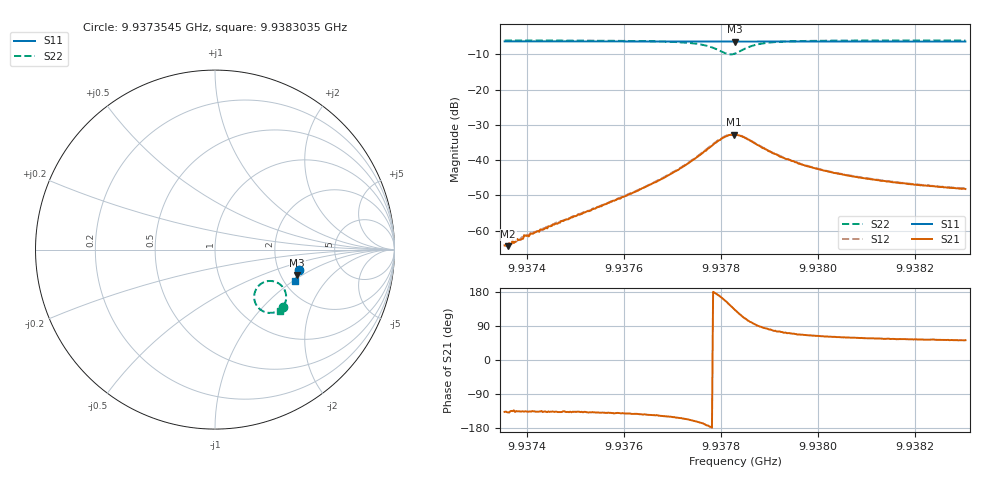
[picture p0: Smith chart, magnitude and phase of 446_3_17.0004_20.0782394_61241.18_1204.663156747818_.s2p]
#  HZ  S  RI  R  50.00
! Rohde & Schwarz Vector Network Analyzer
! Rohde-Schwarz,ZNB20-2Port,1311601062101988,3.16
! Created: UTC 3/20/2024, 11:12:04 PM
! freq[Hz]  re:S11  im:S11  re:S21  im:S21  re:S12  im:S12  re:S22  im:S22
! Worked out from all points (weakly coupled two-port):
!   401 points, 9.9373545 GHz to 9.9383035 GHz, reference 50 ohm
!   highest |S21| = -32.74 dB at 9.9378266 GHz (marker M1); lowest = -64.4 dB at 9.9373616 GHz (marker M2)
!   lowest |S11| = -6.4 dB at 9.937829 GHz (marker M3), VSWR 2.84, Z = 123 - j45 ohm
!   |S11| at or under -10 dB: nowhere
!   |S22| runs from -10.0 to -6.1 dB; largest |S21 - S12| = 0.001
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9.93735452e9  0.4701 -0.1121  -0.00045 -0.000422  -0.000424 -0.000436  0.3807 -0.3202
9.93736164e9  0.4699 -0.1126  -0.000448 -0.000403  -0.000432 -0.000446  0.3803 -0.3209
9.93738774e9  0.4695 -0.1144  -0.000536 -0.000514  -0.000568 -0.000528  0.3779 -0.3226
9.93740434e9  0.4692 -0.1155  -0.000597 -0.000573  -0.000604 -0.00059  0.3767 -0.324
9.93751347e9  0.4667 -0.1226  -0.00125 -0.00118  -0.00132 -0.00117  0.3653 -0.3329
9.93760362e9  0.4645 -0.1287  -0.00242 -0.00194  -0.0025 -0.00193  0.3511 -0.342
9.93767242e9  0.4629 -0.1334  -0.00432 -0.00281  -0.00442 -0.00283  0.3317 -0.3498
9.93772224e9  0.4614 -0.1368  -0.00732 -0.00349  -0.00748 -0.00343  0.3047 -0.3529
9.93776968e9  0.4595 -0.14  -0.0135 -0.00189  -0.0141 -0.00202  0.254 -0.335
9.93778629e9  0.4586 -0.1407  -0.0171 0.000671  -0.0174 0.000893  0.2307 -0.3093
9.9378029e9  0.4579 -0.1413  -0.0195 0.00605  -0.0197 0.00668  0.2182 -0.2632
9.93781476e9  0.4574 -0.1414  -0.0192 0.0114  -0.0194 0.0122  0.2284 -0.2222
9.93782662e9  0.4575 -0.1414  -0.0163 0.0163  -0.0161 0.0171  0.2592 -0.1886
9.93782899e9  0.4572 -0.1414  -0.0154 0.0171  -0.0151 0.0177  0.2672 -0.1841
9.93784797e9  0.4577 -0.1423  -0.00748 0.0197  -0.00714 0.0199  0.3311 -0.1779
9.93787881e9  0.458 -0.1445  0.000341 0.016  0.000741 0.0162  0.3847 -0.2193
9.93790728e9  0.4577 -0.1467  0.00264 0.0122  0.0028 0.0124  0.396 -0.2525
9.937931e9  0.4572 -0.1485  0.00328 0.0101  0.00335 0.0101  0.3963 -0.2713
9.93798794e9  0.4558 -0.1524  0.00339 0.00705  0.00356 0.00711  0.3907 -0.2978
9.93805437e9  0.4543 -0.1569  0.00313 0.00537  0.00326 0.00534  0.3828 -0.3142
9.93814689e9  0.4516 -0.1629  0.00277 0.00411  0.0029 0.00407  0.3736 -0.3275
9.93830346e9  0.4472 -0.173  0.00238 0.00308  0.00248 0.00305  0.3611 -0.3417
